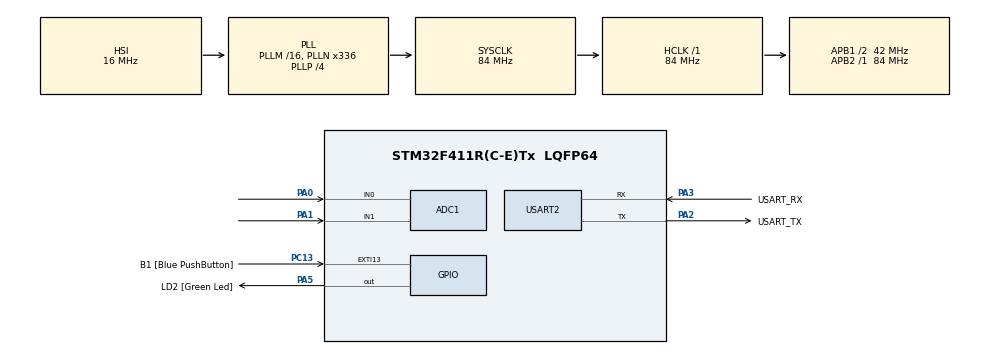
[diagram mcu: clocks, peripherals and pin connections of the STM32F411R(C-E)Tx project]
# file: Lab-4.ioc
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ADC1.Channel-0\#ChannelRegularConversion=ADC_CHANNEL_0
ADC1.Channel-1\#ChannelRegularConversion=ADC_CHANNEL_1
ADC1.Channel-2\#ChannelRegularConversion=ADC_CHANNEL_TEMPSENSOR
ADC1.Channel-3\#ChannelRegularConversion=ADC_CHANNEL_VREFINT
ADC1.ContinuousConvMode=ENABLE
ADC1.DMAContinuousRequests=ENABLE
ADC1.NbrOfConversion=4
ADC1.NbrOfConversionFlag=1
ADC1.Rank-0\#ChannelRegularConversion=1
ADC1.Rank-1\#ChannelRegularConversion=2
ADC1.Rank-2\#ChannelRegularConversion=3
ADC1.Rank-3\#ChannelRegularConversion=4
ADC1.SamplingTime-0\#ChannelRegularConversion=ADC_SAMPLETIME_28CYCLES
ADC1.SamplingTime-1\#ChannelRegularConversion=ADC_SAMPLETIME_28CYCLES
ADC1.SamplingTime-2\#ChannelRegularConversion=ADC_SAMPLETIME_28CYCLES
ADC1.SamplingTime-3\#ChannelRegularConversion=ADC_SAMPLETIME_28CYCLES
ADC1.ScanConvMode=ENABLE
ADC1.master=1
Dma.ADC1.0.Direction=DMA_PERIPH_TO_MEMORY
Dma.ADC1.0.FIFOMode=DMA_FIFOMODE_DISABLE
Dma.ADC1.0.Instance=DMA2_Stream0
Dma.ADC1.0.MemDataAlignment=DMA_MDATAALIGN_WORD
Dma.ADC1.0.MemInc=DMA_MINC_ENABLE
Dma.ADC1.0.Mode=DMA_CIRCULAR
Dma.ADC1.0.PeriphDataAlignment=DMA_PDATAALIGN_WORD
Dma.ADC1.0.PeriphInc=DMA_PINC_DISABLE
Dma.ADC1.0.Priority=DMA_PRIORITY_LOW
Dma.Request0=ADC1
Mcu.Family=STM32F4
Mcu.Name=STM32F411R(C-E)Tx
Mcu.Package=LQFP64
NVIC.DMA2_Stream0_IRQn=true\:0\:0\:false\:false\:true\:false\:true
NVIC.EXTI15_10_IRQn=true\:0\:0\:false\:false\:true\:true\:true
NVIC.PriorityGroup=NVIC_PRIORITYGROUP_0
PA0-WKUP.Signal=ADCx_IN0
PA1.Signal=ADCx_IN1
PA13.GPIO_Label=TMS
PA13.Mode=Serial_Wire
PA13.Signal=SYS_JTMS-SWDIO
PA14.GPIO_Label=TCK
PA14.Mode=Serial_Wire
PA14.Signal=SYS_JTCK-SWCLK
PA2.GPIO_Label=USART_TX
PA2.Mode=Asynchronous
PA2.Signal=USART2_TX
PA3.GPIO_Label=USART_RX
PA3.Mode=Asynchronous
PA3.Signal=USART2_RX
PA5.GPIO_Label=LD2 [Green Led]
PA5.Signal=GPIO_Output
PB3.GPIO_Label=SWO
PB3.Signal=SYS_JTDO-SWO
PC13-ANTI_TAMP.GPIO_Label=B1 [Blue PushButton]
PC13-ANTI_TAMP.GPIO_ModeDefaultEXTI=GPIO_MODE_IT_RISING_FALLING
PC13-ANTI_TAMP.GPIO_PuPd=GPIO_PULLUP
PC13-ANTI_TAMP.Signal=GPXTI13
PC14-OSC32_IN.Mode=LSE-External-Oscillator
PC14-OSC32_IN.Signal=RCC_OSC32_IN
PC15-OSC32_OUT.Mode=LSE-External-Oscillator
PC15-OSC32_OUT.Signal=RCC_OSC32_OUT
PH0\ -\ OSC_IN.Mode=HSE-External-Clock-Source
PH0\ -\ OSC_IN.Signal=RCC_OSC_IN
PH1\ -\ OSC_OUT.Mode=HSE-External-Clock-Source
PH1\ -\ OSC_OUT.Signal=RCC_OSC_OUT
ProjectManager.HeapSize=0x200
ProjectManager.StackSize=0x400
ProjectManager.TargetToolchain=STM32CubeIDE
RCC.48MHZClocksFreq_Value=84000000
RCC.AHBFreq_Value=84000000
RCC.APB1CLKDivider=RCC_HCLK_DIV2
RCC.APB1Freq_Value=42000000
RCC.APB1TimFreq_Value=84000000
RCC.APB2Freq_Value=84000000
RCC.APB2TimFreq_Value=84000000
RCC.CortexFreq_Value=84000000
RCC.FLatency-AdvancedSettings=FLASH_LATENCY_2
RCC.HCLKFreq_Value=84000000
RCC.HSE_VALUE=8000000
RCC.HSI_VALUE=16000000
RCC.PLLN=336
RCC.PLLP=RCC_PLLP_DIV4
RCC.SYSCLKFreq_VALUE=84000000
RCC.SYSCLKSource=RCC_SYSCLKSOURCE_PLLCLK
RCC.VCOOutputFreq_Value=336000000
SH.ADCx_IN0.0=ADC1_IN0,IN0
SH.ADCx_IN1.0=ADC1_IN1,IN1
USART2.VirtualMode=VM_ASYNC
VP_ADC1_TempSens_Input.Mode=IN-TempSens
VP_ADC1_Vref_Input.Mode=IN-Vrefint
board=NUCLEO-F411RE

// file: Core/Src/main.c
/* USER CODE BEGIN Header */
/**
  ******************************************************************************
  * @file           : main.c
  * @brief          : Main program body
  ******************************************************************************
  * @attention
  *
  * <h2><center>&copy; Copyright (c) 2021 STMicroelectronics.
  * All rights reserved.</center></h2>
  *
  * This software component is licensed by ST under BSD 3-Clause license,
  * the "License"; You may not use this file except in compliance with the
  * License. You may obtain a copy of the License at:
  *                        opensource.org/licenses/BSD-3-Clause
  *
  ******************************************************************************
  */
/* USER CODE END Header */
#include "main.h"

ADC_HandleTypeDef hadc1;
DMA_HandleTypeDef hdma_adc1;

UART_HandleTypeDef huart2;

/* USER CODE BEGIN PV */
uint32_t ADCData[4] = {0};
uint32_t Time 		= 0;
uint32_t TimeStamp 	= 0;
uint8_t  State 		= 0;
uint32_t Random 	= 0;

/* USER CODE END PV */

void SystemClock_Config(void);
static void MX_GPIO_Init(void);
static void MX_DMA_Init(void);
static void MX_USART2_UART_Init(void);
static void MX_ADC1_Init(void);

int main(void)
{

  /* MCU Configuration--------------------------------------------------------*/

  /* Reset of all peripherals, Initializes the Flash interface and the Systick. */
  HAL_Init();

  /* Configure the system clock */
  SystemClock_Config();

  /* Initialize all configured peripherals */
  MX_GPIO_Init();
  MX_DMA_Init();
  MX_USART2_UART_Init();
  MX_ADC1_Init();
  /* USER CODE BEGIN 2 */
  HAL_ADC_Start_DMA(&hadc1, ADCData, 4);
  HAL_GPIO_WritePin(LD2_GPIO_Port, LD2_Pin, GPIO_PIN_SET);
  /* USER CODE END 2 */

  /* Infinite loop */
  /* USER CODE BEGIN WHILE */
  while (1)
  {
	/////////////////////////////////////////////////////////////////////////////////////////
	if(State == 1)
	{
		Time = 0;

		Random = 1000 + ( (22695477*ADCData[0] + ADCData[1]) % 10000 );

		TimeStamp = HAL_GetTick();
		while(HAL_GetTick() - TimeStamp <= Random )
		{
			//Do Nothing
		}

		State = 2;
		HAL_GPIO_WritePin(LD2_GPIO_Port, LD2_Pin, GPIO_PIN_SET);
		TimeStamp = HAL_GetTick();
	}
	/////////////////////////////////////////////////////////////////////////////////////////
    /* USER CODE END WHILE */

  }
}

void SystemClock_Config(void)
{
  RCC_OscInitTypeDef RCC_OscInitStruct = {0};
  RCC_ClkInitTypeDef RCC_ClkInitStruct = {0};

  /** Configure the main internal regulator output voltage
  */
  __HAL_RCC_PWR_CLK_ENABLE();
  __HAL_PWR_VOLTAGESCALING_CONFIG(PWR_REGULATOR_VOLTAGE_SCALE1);
  /** Initializes the RCC Oscillators according to the specified parameters
  * in the RCC_OscInitTypeDef structure.
  */
  RCC_OscInitStruct.OscillatorType = RCC_OSCILLATORTYPE_HSI;
  RCC_OscInitStruct.HSIState = RCC_HSI_ON;
  RCC_OscInitStruct.HSICalibrationValue = RCC_HSICALIBRATION_DEFAULT;
  RCC_OscInitStruct.PLL.PLLState = RCC_PLL_ON;
  RCC_OscInitStruct.PLL.PLLSource = RCC_PLLSOURCE_HSI;
  RCC_OscInitStruct.PLL.PLLM = 16;
  RCC_OscInitStruct.PLL.PLLN = 336;
  RCC_OscInitStruct.PLL.PLLP = RCC_PLLP_DIV4;
  RCC_OscInitStruct.PLL.PLLQ = 4;
  if (HAL_RCC_OscConfig(&RCC_OscInitStruct) != HAL_OK)
  {
    Error_Handler();
  }
  /** Initializes the CPU, AHB and APB buses clocks
  */
  RCC_ClkInitStruct.ClockType = RCC_CLOCKTYPE_HCLK|RCC_CLOCKTYPE_SYSCLK
                              |RCC_CLOCKTYPE_PCLK1|RCC_CLOCKTYPE_PCLK2;
  RCC_ClkInitStruct.SYSCLKSource = RCC_SYSCLKSOURCE_PLLCLK;
  RCC_ClkInitStruct.AHBCLKDivider = RCC_SYSCLK_DIV1;
  RCC_ClkInitStruct.APB1CLKDivider = RCC_HCLK_DIV2;
  RCC_ClkInitStruct.APB2CLKDivider = RCC_HCLK_DIV1;

  if (HAL_RCC_ClockConfig(&RCC_ClkInitStruct, FLASH_LATENCY_2) != HAL_OK)
  {
    Error_Handler();
  }
}

static void MX_ADC1_Init(void)
{

  ADC_ChannelConfTypeDef sConfig = {0};

  /** Configure the global features of the ADC (Clock, Resolution, Data Alignment and number of conversion)
  */
  hadc1.Instance = ADC1;
  hadc1.Init.ClockPrescaler = ADC_CLOCK_SYNC_PCLK_DIV4;
  hadc1.Init.Resolution = ADC_RESOLUTION_12B;
  hadc1.Init.ScanConvMode = ENABLE;
  hadc1.Init.ContinuousConvMode = ENABLE;
  hadc1.Init.DiscontinuousConvMode = DISABLE;
  hadc1.Init.ExternalTrigConvEdge = ADC_EXTERNALTRIGCONVEDGE_NONE;
  hadc1.Init.ExternalTrigConv = ADC_SOFTWARE_START;
  hadc1.Init.DataAlign = ADC_DATAALIGN_RIGHT;
  hadc1.Init.NbrOfConversion = 4;
  hadc1.Init.DMAContinuousRequests = ENABLE;
  hadc1.Init.EOCSelection = ADC_EOC_SINGLE_CONV;
  if (HAL_ADC_Init(&hadc1) != HAL_OK)
  {
    Error_Handler();
  }
  /** Configure for the selected ADC regular channel its corresponding rank in the sequencer and its sample time.
  */
  sConfig.Channel = ADC_CHANNEL_0;
  sConfig.Rank = 1;
  sConfig.SamplingTime = ADC_SAMPLETIME_28CYCLES;
  if (HAL_ADC_ConfigChannel(&hadc1, &sConfig) != HAL_OK)
  {
    Error_Handler();
  }
  /** Configure for the selected ADC regular channel its corresponding rank in the sequencer and its sample time.
  */
  sConfig.Channel = ADC_CHANNEL_1;
  sConfig.Rank = 2;
  if (HAL_ADC_ConfigChannel(&hadc1, &sConfig) != HAL_OK)
  {
    Error_Handler();
  }
  /** Configure for the selected ADC regular channel its corresponding rank in the sequencer and its sample time.
  */
  sConfig.Channel = ADC_CHANNEL_TEMPSENSOR;
  sConfig.Rank = 3;
  if (HAL_ADC_ConfigChannel(&hadc1, &sConfig) != HAL_OK)
  {
    Error_Handler();
  }
  /** Configure for the selected ADC regular channel its corresponding rank in the sequencer and its sample time.
  */
  sConfig.Channel = ADC_CHANNEL_VREFINT;
  sConfig.Rank = 4;
  if (HAL_ADC_ConfigChannel(&hadc1, &sConfig) != HAL_OK)
  {
    Error_Handler();
  }

}

static void MX_USART2_UART_Init(void)
{

  huart2.Instance = USART2;
  huart2.Init.BaudRate = 115200;
  huart2.Init.WordLength = UART_WORDLENGTH_8B;
  huart2.Init.StopBits = UART_STOPBITS_1;
  huart2.Init.Parity = UART_PARITY_NONE;
  huart2.Init.Mode = UART_MODE_TX_RX;
  huart2.Init.HwFlowCtl = UART_HWCONTROL_NONE;
  huart2.Init.OverSampling = UART_OVERSAMPLING_16;
  if (HAL_UART_Init(&huart2) != HAL_OK)
  {
    Error_Handler();
  }

}

static void MX_DMA_Init(void)
{

  /* DMA controller clock enable */
  __HAL_RCC_DMA2_CLK_ENABLE();

  /* DMA interrupt init */
  /* DMA2_Stream0_IRQn interrupt configuration */
  HAL_NVIC_SetPriority(DMA2_Stream0_IRQn, 0, 0);
  HAL_NVIC_EnableIRQ(DMA2_Stream0_IRQn);

}

static void MX_GPIO_Init(void)
{
  GPIO_InitTypeDef GPIO_InitStruct = {0};

  /* GPIO Ports Clock Enable */
  __HAL_RCC_GPIOC_CLK_ENABLE();
  __HAL_RCC_GPIOH_CLK_ENABLE();
  __HAL_RCC_GPIOA_CLK_ENABLE();
  __HAL_RCC_GPIOB_CLK_ENABLE();

  /*Configure GPIO pin Output Level */
  HAL_GPIO_WritePin(LD2_GPIO_Port, LD2_Pin, GPIO_PIN_RESET);

  /*Configure GPIO pin : B1_Pin */
  GPIO_InitStruct.Pin = B1_Pin;
  GPIO_InitStruct.Mode = GPIO_MODE_IT_RISING_FALLING;
  GPIO_InitStruct.Pull = GPIO_PULLUP;
  HAL_GPIO_Init(B1_GPIO_Port, &GPIO_InitStruct);

  /*Configure GPIO pin : LD2_Pin */
  GPIO_InitStruct.Pin = LD2_Pin;
  GPIO_InitStruct.Mode = GPIO_MODE_OUTPUT_PP;
  GPIO_InitStruct.Pull = GPIO_NOPULL;
  GPIO_InitStruct.Speed = GPIO_SPEED_FREQ_LOW;
  HAL_GPIO_Init(LD2_GPIO_Port, &GPIO_InitStruct);

  /* EXTI interrupt init*/
  HAL_NVIC_SetPriority(EXTI15_10_IRQn, 0, 0);
  HAL_NVIC_EnableIRQ(EXTI15_10_IRQn);

}

/* USER CODE BEGIN 4 */
//////////////////////////////////////////////////////////////////////////////////

void HAL_GPIO_EXTI_Callback(uint16_t GPIO_Pin)
{
	if(GPIO_Pin == GPIO_PIN_13)
	{
		if(State == 0)
		{
			HAL_GPIO_WritePin(LD2_GPIO_Port, LD2_Pin, GPIO_PIN_RESET);

			State = 1;
		}

		else
		{
			Time = HAL_GetTick() - TimeStamp;

			State = 0;
		}
	}
}

//////////////////////////////////////////////////////////////////////////////////
/* USER CODE END 4 */

void Error_Handler(void)
{
  __disable_irq();
  while (1)
  {
  }
}

/************************ (C) COPYRIGHT STMicroelectronics *****END OF FILE****/
